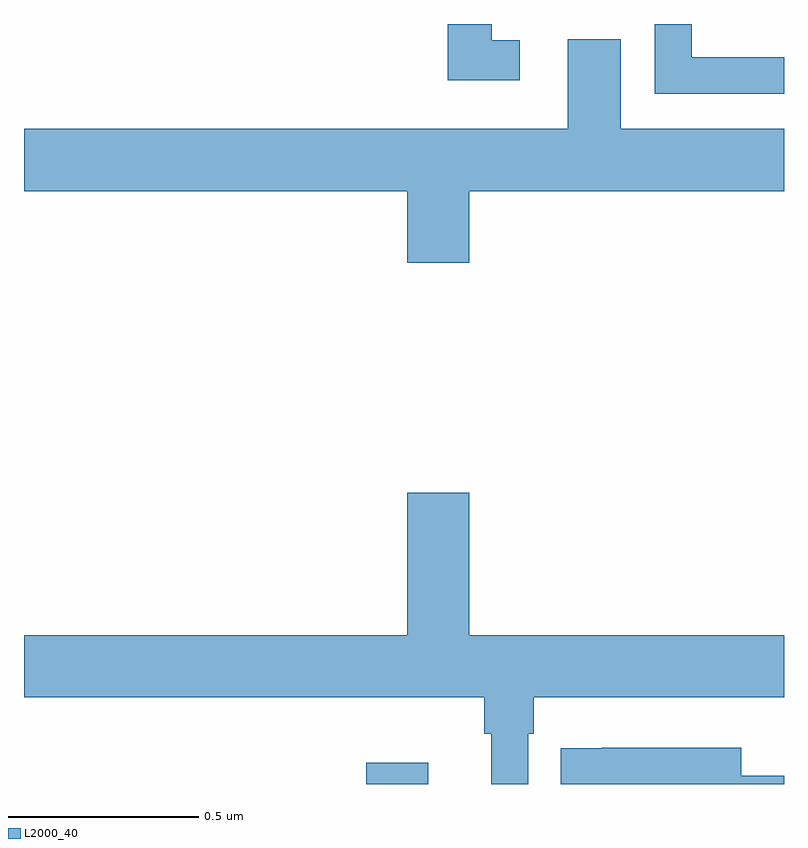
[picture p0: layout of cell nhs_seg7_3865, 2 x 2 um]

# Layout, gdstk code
import gdstk
lib = gdstk.Library(unit=1e-6, precision=1e-09)
def R(c, l, rs):  # rectangles x0, y0, x1, y1
    for r in rs: c.add(gdstk.rectangle(r[:2], r[2:], *l))
def P(c, l, *ps):  # polygons
    for p in ps: c.add(gdstk.Polygon(p, *l))
L2000_40 = (2000, 40)

nhs_seg7_3865 = lib.new_cell('nhs_seg7_3865')
R(nhs_seg7_3865, L2000_40, [(164.9,1055,165.064,1055.056)])
P(nhs_seg7_3865, L2000_40, [(166,1056.912),(165.757,1056.912),(165.757,1057),(165.66,1057),(165.66,1056.816),(166,1056.816)],
  [(165.304,1056.957),(165.231,1056.957),(165.231,1057),(165.115,1057),(165.115,1056.852),(165.304,1056.852)],
  [(165.172,1056.56),(166,1056.56),(166,1056.724),(165.571,1056.724),(165.571,1056.96),(165.431,1056.96),(165.431,1056.724),(164,1056.724),(164,1056.56),(165.008,1056.56),(165.008,1056.372),(165.172,1056.372)],
  [(165.327,1055.132),(165.341,1055.132),(165.341,1055.228),(166,1055.228),(166,1055.392),(165.172,1055.392),(165.172,1055.767),(165.008,1055.767),(165.008,1055.392),(164,1055.392),(164,1055.228),(165.211,1055.228),(165.211,1055.132),(165.23,1055.132),(165.23,1055),(165.327,1055)],
  [(166,1055.022),(165.888,1055.022),(165.888,1055.095),(165.52,1055.095),(165.52,1055.094),(165.412,1055.094),(165.412,1055),(166,1055)])

lib.write_gds('nhs_seg7_3865.gds')
